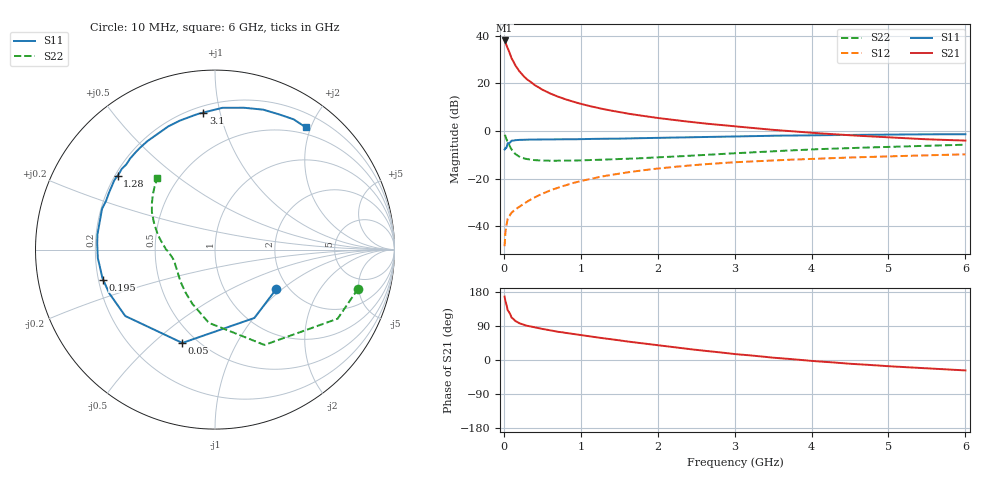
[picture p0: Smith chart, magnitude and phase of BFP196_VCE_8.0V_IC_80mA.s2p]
! Infineon Technologies  Discrete & RF Semiconductors
! BFP196
! VCE = 8.0 V,  IC =  80mA
! Common Emitter S-Parameters:  Jan 2016
# GHz  S  MA  R  50
!  f  S11  S21  S12  S22
! GHz  MAG  ANG  MAG  ANG  MAG  ANG  MAG  ANG
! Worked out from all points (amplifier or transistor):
!   210 points, 10 MHz to 6 GHz, reference 50 ohm
!   highest |S21| = 38.0 dB at 10 MHz (marker M1)
!   |S21| within 3 dB of that: start of sweep to 46.46 MHz
!   unconditionally stable (mu >= 1): 437.9 MHz to 4.965 GHz
!   at 185 MHz: K = 0.75, MSG = 29.1 dB, |S12| = -32.3 dB
!   at 1.52 GHz: K = 1.09, MAG = 11.0 dB, |S12| = -17.9 dB
!   at 6 GHz: K = 0.98, MSG = 2.9 dB, |S12| = -9.9 dB
!   S11 on the Smith chart (normalised r, x): 10 MHz: 1.74, -0.91; 50 MHz: 0.42, -0.62; 195 MHz: 0.22, -0.13; 1.28 GHz: 0.21, +0.32; 3.1 GHz: 0.24, +0.89; 6 GHz: 0.40, +1.92
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0.01  0.4061 -32.6  78.98 167.3  0.0038 78.9  0.8269 -15.2
0.02  0.4396 -60.0  72.87 155.4  0.0073 69.4  0.7842 -29.4
0.05  0.551 -109.3  54.33 131.3  0.0142 53.3  0.5984 -62.6
0.1  0.6221 -143.5  33.55 112.0  0.0191 47.2  0.4095 -94.8
0.15  0.6378 -157.7  23.49 102.7  0.0225 49.1  0.3268 -112.8
0.195  0.6455 -165.0  18.52 97.8  0.025 53.0  0.2917 -123.7
0.2  0.647 -165.8  17.98 97.1  0.0253 53.4  0.2885 -125.1
0.24  0.6479 -170.8  15.12 94.1  0.0282 54.6  0.271 -132.3
0.26  0.6498 -172.8  13.94 92.7  0.0296 55.5  0.2648 -135.4
0.3  0.6546 -175.8  12.09 90.4  0.0325 57.5  0.256 -140.2
0.4  0.6571 177.1  9.154 85.9  0.0402 60.7  0.2432 -149.3
0.5  0.6604 172.7  7.323 82.0  0.0477 62.2  0.2383 -155.1
0.6  0.6604 168.0  6.111 78.3  0.056 62.8  0.236 -159.0
0.7  0.6645 163.6  5.255 74.6  0.0636 62.6  0.2365 -162.2
0.9  0.6649 156.0  4.088 68.7  0.0804 61.7  0.238 -166.8
1.02  0.6705 151.5  3.622 65.2  0.0898 60.8  0.2407 -168.7
1.28  0.681 142.8  2.897 57.8  0.1105 57.7  0.2483 -172.6
2.02  0.7126 121.3  1.847 38.6  0.1629 47.2  0.2788 177.7
3.1  0.7663 94.9  1.2 14.0  0.2233 31.3  0.3447 161.7
4.1  0.8092 76.9  0.889 -3.8  0.2616 18.6  0.4137 148.2
5.1  0.8356 63.6  0.719 -17.5  0.2942 7.6  0.4662 137.6
6  0.8486 53.4  0.625 -27.5  0.3215 -2.2  0.512 128.8
